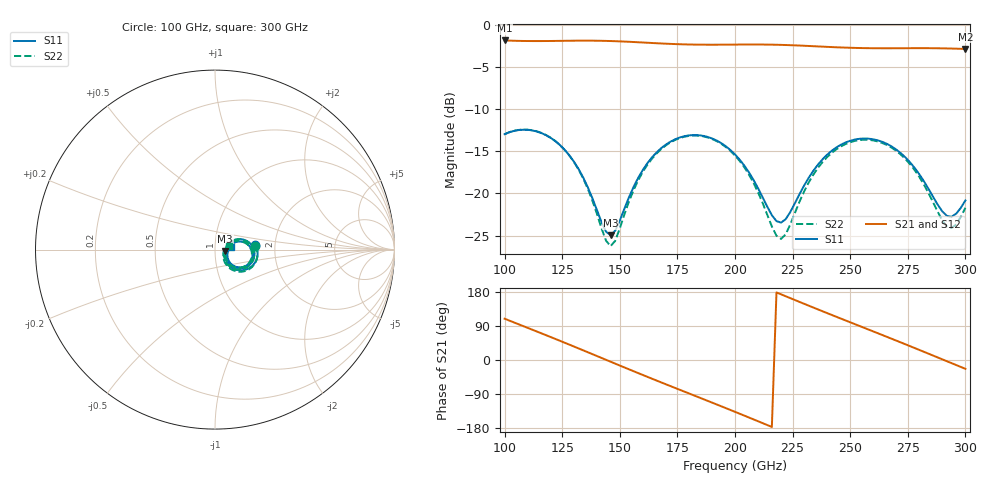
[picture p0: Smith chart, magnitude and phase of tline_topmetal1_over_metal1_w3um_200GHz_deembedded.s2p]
! Created with skrf 2.2.0 (http://scikit-rf.org).
# GHz S DB R 50.0
! Port[1] = P1
! Port[2] = P2
!freq dBS11 angS11 dBS21 angS21 dBS12 angS12 dBS22 angS22
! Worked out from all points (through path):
!   101 points, 100 GHz to 300 GHz, reference 50 ohm
!   highest |S21| = -1.84 dB at 100 GHz (marker M1); lowest = -2.8 dB at 300 GHz (marker M2)
!   group delay of S21, straight-line fit = 6.84 ps
!   lowest |S11| = -25.0 dB at 146 GHz (marker M3), VSWR 1.12, Z = 55.9 - j1.08 ohm
!   |S11| at or under -10 dB: start of sweep to end of sweep
!   |S22| runs from -26.3 to -12.4 dB; largest |S21 - S12| = 9.3e-14
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100  -12.97 7.2  -1.84 108.9  -1.84 108.9  -12.95 5.7
108  -12.43 -7.7  -1.90 89.7  -1.90 89.7  -12.42 -9.6
116  -12.83 -22.5  -1.91 70.3  -1.91 70.3  -12.82 -24.9
126  -14.80 -39.4  -1.88 45.8  -1.88 45.8  -14.81 -42.7
134  -18.05 -47.9  -1.86 25.8  -1.86 25.8  -18.16 -52.6
146  -24.96 -9.8  -1.90 -4.5  -1.90 -4.5  -26.26 -12.8
158  -18.14 25.8  -2.05 -34.6  -2.05 -34.6  -18.43 26.9
168  -14.62 14.6  -2.19 -59.2  -2.19 -59.2  -14.73 14.3
176  -13.36 1.6  -2.28 -78.6  -2.28 -78.6  -13.43 0.4
184  -13.08 -12.3  -2.33 -97.8  -2.33 -97.8  -13.14 -14.2
192  -13.71 -25.8  -2.34 -117.2  -2.34 -117.2  -13.78 -28.6
200  -15.37 -37.4  -2.33 -136.8  -2.33 -136.8  -15.49 -41.6
210  -19.38 -42.7  -2.32 -161.6  -2.32 -161.6  -19.86 -49.7
220  -23.46 -9.3  -2.36 173.3  -2.36 173.3  -25.39 -11.5
234  -17.31 19.0  -2.52 138.4  -2.52 138.4  -17.77 22.3
244  -14.54 7.9  -2.64 114.0  -2.64 114.0  -14.76 9.4
252  -13.60 -4.4  -2.72 94.7  -2.72 94.7  -13.76 -3.9
268  -14.42 -29.6  -2.76 56.1  -2.76 56.1  -14.57 -30.8
280  -17.72 -41.5  -2.75 26.6  -2.75 26.6  -18.04 -44.7
292  -22.66 -19.4  -2.78 -3.3  -2.78 -3.3  -23.93 -21.5
296  -22.41 -1.5  -2.81 -13.3  -2.81 -13.3  -23.67 0.4
300  -20.83 10.6  -2.85 -23.3  -2.85 -23.3  -21.71 14.5
